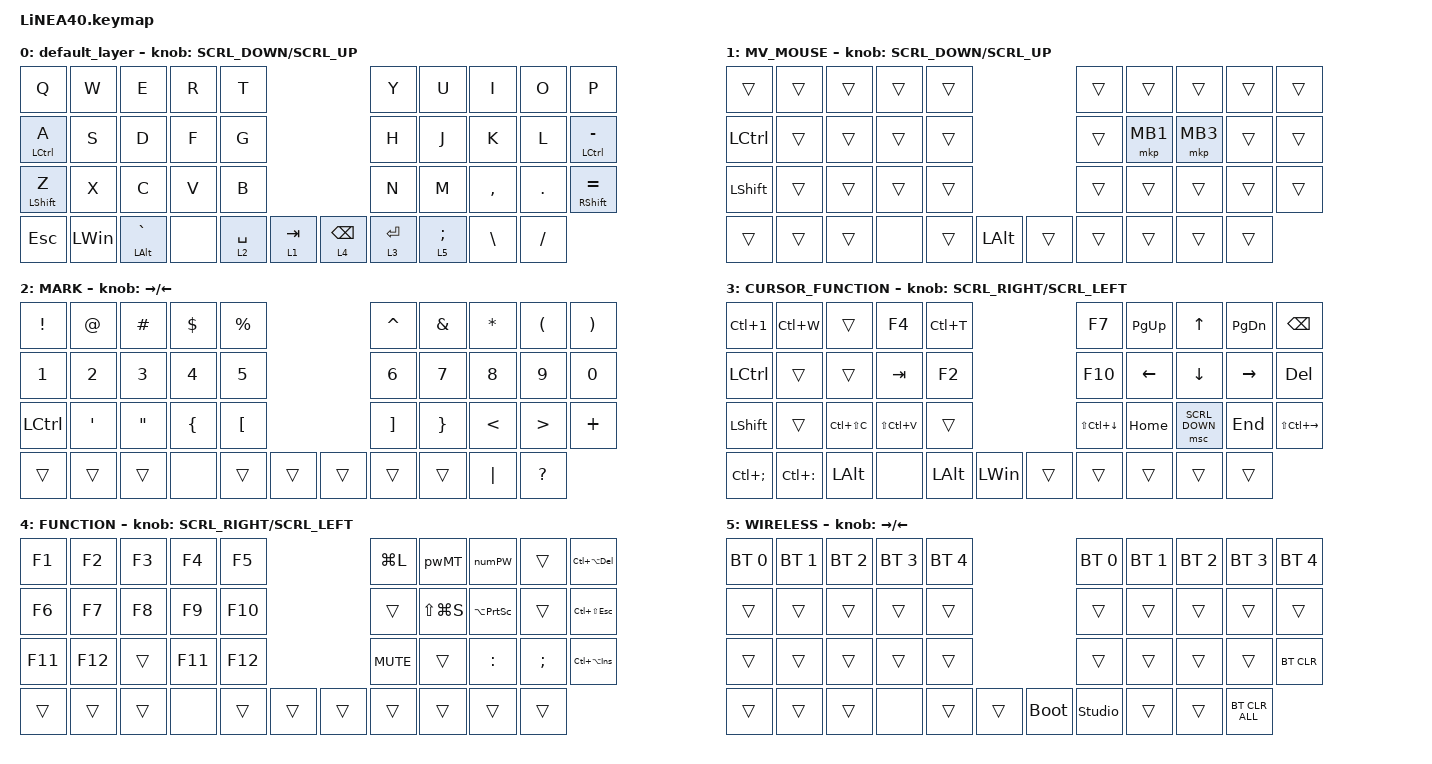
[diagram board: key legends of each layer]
#define ZMK_POINTING_DEFAULT_SCRL_VAL 150

#include <dt-bindings/zmk/input_transform.h>
#include <input/processors.dtsi>
#include <zephyr/dt-bindings/input/input-event-codes.h>
#include <behaviors.dtsi>
#include <dt-bindings/zmk/bt.h>
#include <dt-bindings/zmk/keys.h>
#include <dt-bindings/zmk/pointing.h>

#define MOUSE 1
#define MARK 2
#define CURSOR 3
#define FUNCTION 4
#define SCROLL 5
#define WIRELESS 6

//mouse cursol

&mmv {
    delay-ms = <20>;
    trigger-period-ms = <5>;
    time-to-max-speed-ms = <100>;
    acceleration-exponent = <2>;
};

//mouse scroll

&msc {
    delay-ms = <3>;
    trigger-period-ms = <3>;
    time-to-max-speed-ms = <100>;
    acceleration-exponent = <0>;
};

/ {
    input_processors {
        zip_wheel_scaler: zip_wheel_scaler {
            compatible = "zmk,input-processor-scaler";
            #input-processor-cells = <2>;
            type = <INPUT_EV_REL>;
            codes = <INPUT_REL_WHEEL>;
            track-remainders;
        };
    };
};

&msc_input_listener {
    speed_up {
        layers = <FUNCTION>;
        input-processors = <&zip_wheel_scaler 3 1>; //スクロールを3倍速にする
    };
};

&trackball_listener {
    scroller {
        layers = <SCROLL>;
        input-processors =
            <&zip_xy_transform INPUT_TRANSFORM_Y_INVERT>,
            //スクロール方向を逆転,,,,,,,,,,,,,,,,,,,,,,,,,,,,,,,,,,,,,,,,,,
            <&zip_xy_to_scroll_mapper>;
    };
};

/ {
    combos {
        compatible = "zmk,combos";

        RightClick {
            bindings = <&mkp MB2>;
            key-positions = <18 17>;
        };

        PrevClick {
            bindings = <&mkp MB4>;
            key-positions = <27 26>;
        };

        ClickNext {
            bindings = <&mkp MB5>;
            key-positions = <27 28>;
        };

        eigo {
            bindings = <&kp LANGUAGE_2>;
            key-positions = <13 10>;
        };

        nihongo {
            bindings = <&kp LANGUAGE_1>;
            key-positions = <16 19>;
        };

        teams_editmode {
            bindings = <&kp LS(LC(X))>;
            key-positions = <20 23>;
        };
    };

    behaviors {
        re_kp: sensor_rotate_kp {
            compatible = "zmk,behavior-sensor-rotate-var";
            #sensor-binding-cells = <2>;
            bindings = <&kp>, <&kp>;
        };

        mouse_scrl: mouse_wheel_scrl {
            compatible = "zmk,behavior-sensor-rotate-var";
            #sensor-binding-cells = <2>;
            bindings = <&msc>, <&msc>;

            tap-ms = <20>;
        };

        HM: HM {
            compatible = "zmk,behavior-hold-tap";
            label = "HM";
            bindings = <&kp>, <&kp>;

            #binding-cells = <2>;
            flavor = "tap-preferred";
            require-prior-idle-ms = <150>;
            tapping-term-ms = <200>;
        };

        // カスタム挙動名「cap_lay」の定義
    };

    macros {
        pwMT: pwMT {
            compatible = "zmk,behavior-macro";
            #binding-cells = <0>;
            bindings = <&kp LS(M) &kp LS(T) &kp B &kp O &kp O &kp K &kp MINUS &kp N1 &kp N5 &kp N7 &kp N3 &kp ENTER>;
            label = "PWMT";
            wait-ms = <50>;
        };

        numPW: numPW {
            compatible = "zmk,behavior-macro";
            #binding-cells = <0>;
            bindings = <&kp N0 &kp N9 &kp N1 &kp N5 &kp N1 &kp N5 &kp N7 &kp N3>;
            label = "NUMPW";
            wait-ms = <50>;
        };
    };

    keymap {
        compatible = "zmk,keymap";

        default_layer {
            bindings = <
&kp Q             &kp W         &kp E               &kp R  &kp T                                      &kp Y        &kp U  &kp I            &kp O          &kp P
&HM LCTRL A       &kp S         &kp D               &kp F  &kp G                                      &kp H        &kp J  &kp K            &kp L          &HM LEFT_CONTROL MINUS
&HM LEFT_SHIFT Z  &kp X         &kp C               &kp V  &kp B                                      &kp N        &kp M  &kp COMMA        &kp DOT        &HM RIGHT_SHIFT EQUAL
&kp ESC           &kp LEFT_WIN  &HM LEFT_ALT GRAVE  &none  &lt 2 SPACE  &lt 1 TAB    &lt 4 BACKSPACE  &lt 3 ENTER         &lt 5 SEMICOLON  &kp BACKSLASH  &kp SLASH
            >;

            sensor-bindings = <&mouse_scrl SCRL_DOWN SCRL_UP>;
        };

        MV_MOUSE {
            bindings = <
&trans          &trans  &trans  &trans  &trans                          &trans  &trans    &trans    &trans  &trans
&kp LCTRL       &trans  &trans  &trans  &trans                          &trans  &mkp MB1  &mkp MB3  &trans  &trans
&kp LEFT_SHIFT  &trans  &trans  &trans  &trans                          &trans  &trans    &trans    &trans  &trans
&trans          &trans  &trans  &none   &trans  &kp LEFT_ALT    &trans  &trans            &trans    &trans  &trans
            >;

            sensor-bindings = <&mouse_scrl SCRL_DOWN SCRL_UP>;
        };

        MARK {
            bindings = <
&kp EXCLAMATION  &kp AT            &kp HASH           &kp DOLLAR      &kp PERCENT                         &kp CARET          &kp AMPERSAND    &kp ASTERISK   &kp LEFT_PARENTHESIS  &kp RIGHT_PARENTHESIS
&kp NUMBER_1     &kp NUMBER_2      &kp NUMBER_3       &kp NUMBER_4    &kp N5                              &kp NUMBER_6       &kp N7           &kp N8         &kp N9                &kp N0
&kp LCTRL        &kp SINGLE_QUOTE  &kp DOUBLE_QUOTES  &kp LEFT_BRACE  &kp LEFT_BRACKET                    &kp RIGHT_BRACKET  &kp RIGHT_BRACE  &kp LESS_THAN  &kp GREATER_THAN      &kp PLUS
&trans           &trans            &trans             &none           &trans            &trans    &trans  &trans                              &trans         &kp PIPE              &kp QUESTION
            >;

            sensor-bindings = <&inc_dec_kp RIGHT LEFT>;
        };

        CURSOR_FUNCTION {
            bindings = <
&kp LC(NUMBER_1)  &kp LC(W)      &trans         &kp F4         &kp LC(T)                             &kp F7            &kp PAGE_UP  &kp UP_ARROW    &kp PAGE_DOWN  &kp BACKSPACE
&kp LEFT_CONTROL  &trans         &trans         &kp TAB        &kp F2                                &kp F10           &kp LEFT     &kp DOWN        &kp RIGHT      &kp DELETE
&kp LEFT_SHIFT    &trans         &kp LC(LS(C))  &kp LS(LC(V))  &trans                                &kp LS(LC(DOWN))  &kp HOME     &msc SCRL_DOWN  &kp END        &kp LS(LC(RIGHT))
&kp LC(SEMI)      &kp LC(COLON)  &kp LEFT_ALT   &none          &kp LEFT_ALT  &kp LEFT_WIN    &trans  &trans                         &trans          &trans         &trans
            >;

            sensor-bindings = <&mouse_scrl SCRL_RIGHT SCRL_LEFT>;
        };

        FUNCTION {
            bindings = <
&kp F1   &kp F2   &kp F3  &kp F4   &kp F5                     &kp LG(L)   &pwMT          &numPW               &trans    &kp LC(LA(DELETE))
&kp F6   &kp F7   &kp F8  &kp F9   &kp F10                    &trans      &kp LS(LG(S))  &kp LA(PRINTSCREEN)  &trans    &kp LC(LS(ESCAPE))
&kp F11  &kp F12  &trans  &kp F11  &kp F12                    &kp C_MUTE  &trans         &kp COLON            &kp SEMI  &kp LC(LA(INS))
&trans   &trans   &trans  &none    &trans   &trans    &trans  &trans                     &trans               &trans    &trans
            >;

            sensor-bindings = <&mouse_scrl SCRL_RIGHT SCRL_LEFT>;
        };

        WIRELESS {
            bindings = <
&bt BT_SEL 0  &bt BT_SEL 1  &bt BT_SEL 2  &bt BT_SEL 3  &bt BT_SEL 4                         &bt BT_SEL 0    &bt BT_SEL 1  &bt BT_SEL 2  &bt BT_SEL 3  &bt BT_SEL 4
&trans        &trans        &trans        &trans        &trans                               &trans          &trans        &trans        &trans        &trans
&trans        &trans        &trans        &trans        &trans                               &trans          &trans        &trans        &trans        &bt BT_CLR
&trans        &trans        &trans        &none         &trans        &trans    &bootloader  &studio_unlock                &trans        &trans        &bt BT_CLR_ALL
            >;

            sensor-bindings = <&inc_dec_kp RIGHT_ARROW LEFT_ARROW>;
        };
    };
};
